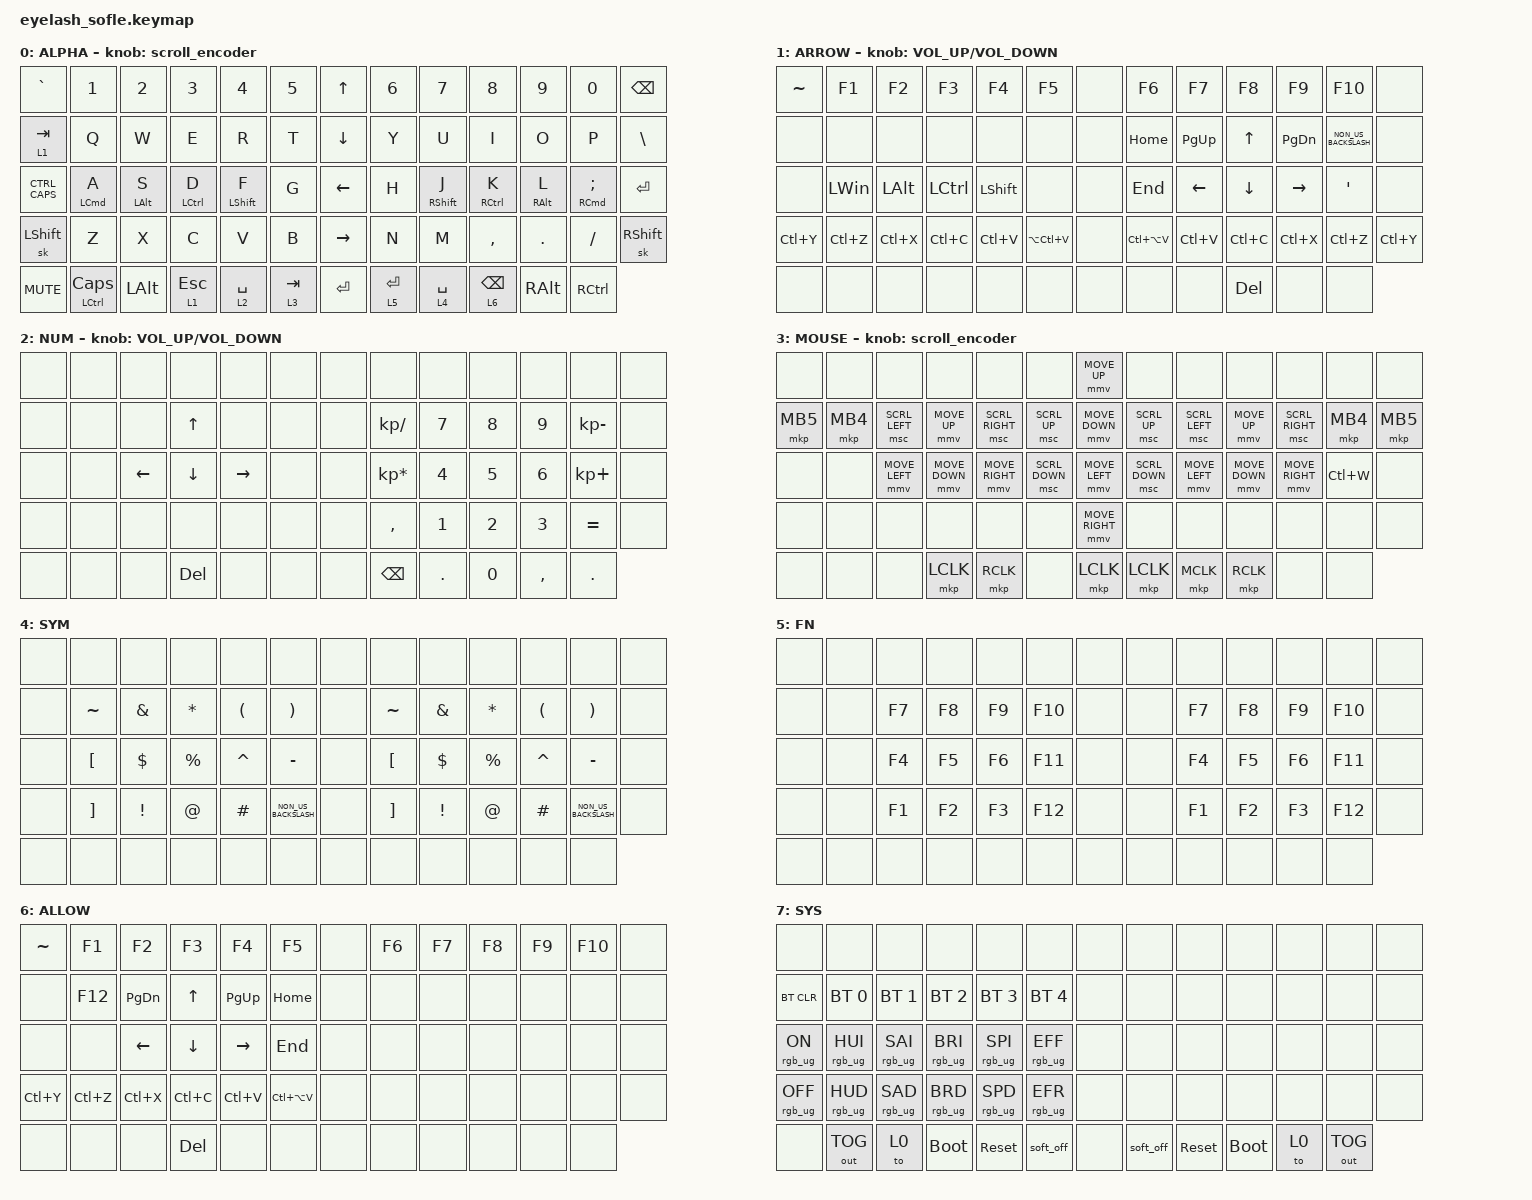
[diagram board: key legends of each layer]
#define ZMK_POINTING_DEFAULT_MOVE_VAL 1200  // 600
#define ZMK_POINTING_DEFAULT_SCRL_VAL 25   // 10

#include <input/processors.dtsi>
#include <zephyr/dt-bindings/input/input-event-codes.h>
#include <behaviors.dtsi>
#include <dt-bindings/zmk/bt.h>
#include <dt-bindings/zmk/keys.h>
#include <dt-bindings/zmk/outputs.h>
#include <dt-bindings/zmk/pointing.h>
#include <dt-bindings/zmk/rgb.h>

&mmv_input_listener { input-processors = <&zip_xy_scaler 2 1>; };

&msc_input_listener { input-processors = <&zip_scroll_scaler 2 1>; };

&msc {
    acceleration-exponent = <1>;      // 0
    time-to-max-speed-ms = <100>;       // 300
    delay-ms = <0>;                   // 0
};

&mmv {
    time-to-max-speed-ms = <500>;
    acceleration-exponent = <1>;
    trigger-period-ms = <16>;
};

/ {
    scroll_encoder: scroll_encoder {
        compatible = "zmk,behavior-sensor-rotate";
        #sensor-binding-cells = <0>;
        bindings = <&msc SCRL_DOWN>, <&msc SCRL_UP>;

        tap-ms = <100>;
    };

    HOME_ROW_R: HOME_ROW_R {
        compatible = "zmk,behavior-hold-tap";
        label = "HOME_ROW_R";
        bindings = <&kp>, <&kp>;

        #binding-cells = <2>;
        flavor = "tap-preferred";
        tapping-term-ms = <185>;
    };

    CTRL_CAPS: CTRL_CAPS {
        compatible = "zmk,behavior-tap-dance";
        label = "CTRL_CAPS";
        #binding-cells = <0>;
        bindings = <&kp LCTRL>, <&kp CAPSLOCK>;

        tapping-term-ms = <250>;
    };

    TIMELESS_HMR_L: TIMELESS_HMR_L {
        compatible = "zmk,behavior-hold-tap";
        label = "TIMELESS_HMR_L";
        bindings = <&kp>, <&kp>;

        #binding-cells = <2>;
        tapping-term-ms = <280>;
        quick-tap-ms = <175>;
        require-prior-idle-ms = <125>;
        flavor = "balanced";
        hold-trigger-key-positions = <7 8 9 10 11 12 20 21 22 23 24 25 33 34 35 36 37 38 46 47 48 49 50 51 60 61 62 63 59 53 54 55 56 57>;
        hold-trigger-on-release;
    };

    TIMELESS_HMR_R: TIMELESS_HMR_R {
        compatible = "zmk,behavior-hold-tap";
        label = "TIMELESS_HMR_R";
        bindings = <&kp>, <&kp>;

        #binding-cells = <2>;
        tapping-term-ms = <280>;
        quick-tap-ms = <175>;
        require-prior-idle-ms = <125>;
        flavor = "balanced";
        hold-trigger-on-release;
        hold-trigger-key-positions = <0 1 2 3 4 5 13 14 15 16 17 18 26 27 28 29 30 31 39 40 41 42 43 44 53 54 55 56 57 59 60 61 62 63>;
    };

    HMR_LSHIFT: HMR_LSHIFT {
        compatible = "zmk,behavior-hold-tap";
        label = "HMR_LSHIFT";
        bindings = <&kp>, <&kp>;

        #binding-cells = <2>;
        tapping-term-ms = <170>;
        quick-tap-ms = <0>;
        require-prior-idle-ms = <(-1)>;
        flavor = "balanced";
        hold-trigger-key-positions = <7 8 9 10 11 12 20 21 22 23 24 25 33 34 35 36 37 38 46 47 48 49 50 51 60 61 62 63 59 53 54 55 56 57>;
    };

    HMR_RSHIFT: HMR_RSHIFT {
        compatible = "zmk,behavior-hold-tap";
        label = "HMR_RSHIFT";
        bindings = <&kp>, <&kp>;

        #binding-cells = <2>;
        tapping-term-ms = <170>;
        quick-tap-ms = <0>;
        require-prior-idle-ms = <(-1)>;
        flavor = "balanced";
        hold-trigger-key-positions = <0 1 2 3 4 5 13 14 15 16 17 18 26 27 28 29 30 31 39 40 41 42 43 44 53 54 55 56 57 59 60 61 62 63>;
    };

    HOME_ROW_L: HOME_ROW_L {
        compatible = "zmk,behavior-hold-tap";
        label = "HOME_ROW_L";
        bindings = <&kp>, <&kp>;

        #binding-cells = <2>;
        flavor = "tap-preferred";
        tapping-term-ms = <185>;
    };

    behaviors {
    };

    combos {
        compatible = "zmk,combos";

        COMBO_PAR {
            bindings = <&PARENTHESIS>;
            key-positions = <18 31 44>;
        };

        COMBO_SQL_SELECT {
            bindings = <&SQL_SELECT>;
            key-positions = <27 28 29>;
            layers = <0>;
        };

        COMBO_UNDERSCORE {
            bindings = <&kp UNDERSCORE>;
            key-positions = <17 16>;
        };

        COMBO_EQUAL {
            bindings = <&kp EQUAL>;
            key-positions = <18 17>;
        };

        COMBO_LPAR {
            bindings = <&kp LEFT_PARENTHESIS>;
            key-positions = <14 15>;
        };

        COMBO_RPAR {
            bindings = <&kp RIGHT_PARENTHESIS>;
            key-positions = <15 16>;
        };

        COMBO_LANG_CHANGE {
            bindings = <&kp LG(SPACE)>;
            key-positions = <29 30>;
        };

        COMBO_MINUS {
            bindings = <&kp KP_MINUS>;
            key-positions = <21 22>;
        };

        COMBO_PLUS {
            bindings = <&kp KP_PLUS>;
            key-positions = <22 23>;
        };

        COMBO_BOOTLOADER {
            bindings = <&bootloader>;
            key-positions = <57 59>;
        };
    };

    macros {
        PARENTHESIS: PARENTHESIS {
            compatible = "zmk,behavior-macro";
            #binding-cells = <0>;
            bindings = <&kp LEFT_PARENTHESIS &kp RIGHT_PARENTHESIS &kp LEFT>;
            label = "PARENTHESIS";
        };

        SQL_SELECT: SQL_SELECT {
            compatible = "zmk,behavior-macro";
            #binding-cells = <0>;
            bindings = <&none &kp S &kp E &kp L &kp E &kp C &kp T &kp SPACE &kp STAR &kp RET &kp F &kp R &kp O &kp M &kp SPACE &kp RET &kp W &kp H &kp E &kp R &kp E &kp SPACE &kp N1 &kp EQUAL &kp N1 &kp RET &kp O &kp R &kp D &kp E &kp R &kp SPACE &kp B &kp Y &kp SPACE &kp I &kp D &kp X &kp SPACE &kp D &kp E &kp S &kp C &kp RET &kp L &kp I &kp M &kp I &kp T &kp SPACE &kp N1 &kp N0 &kp N0 &kp RET &kp SEMI>;
            label = "SQL_SELECT";
        };
    };

    keymap {
        compatible = "zmk,keymap";

        ALPHA {
            bindings = <
&kp GRAVE   &kp N1                      &kp N2                  &kp N3                      &kp N4                    &kp N5       &kp UP_ARROW     &kp N6       &kp N7                     &kp N8                       &kp N9                   &kp N0                          &kp BACKSPACE
&lt 1 TAB   &kp Q                       &kp W                   &kp E                       &kp R                     &kp T        &kp DOWN_ARROW   &kp Y        &kp U                      &kp I                        &kp O                    &kp P                           &kp BACKSLASH
&CTRL_CAPS  &HOME_ROW_L LEFT_COMMAND A  &HOME_ROW_L LEFT_ALT S  &HOME_ROW_L LEFT_CONTROL D  &HOME_ROW_L LEFT_SHIFT F  &kp G        &kp LEFT_ARROW   &kp H        &HOME_ROW_R RIGHT_SHIFT J  &HOME_ROW_R RIGHT_CONTROL K  &HOME_ROW_R RIGHT_ALT L  &HOME_ROW_R RIGHT_COMMAND SEMI  &kp ENTER
&sk LSHFT   &kp Z                       &kp X                   &kp C                       &kp V                     &kp B        &kp RIGHT_ARROW  &kp N        &kp M                      &kp COMMA                    &kp DOT                  &kp FSLH                        &sk RSHIFT
&kp C_MUTE  &mt LCTRL CAPSLOCK          &kp LEFT_ALT            &lt 1 ESCAPE                &lt 2 SPACE               &lt 3 TAB    &kp ENTER        &lt 5 ENTER  &lt 4 SPACE                &lt 6 BACKSPACE              &kp RIGHT_ALT            &kp RCTRL
            >;

            sensor-bindings = <&scroll_encoder>;
            display-name = "ALPHA";
            label = "ALPHA";
        };

        ARROW {
            bindings = <
&kp TILDE  &kp F1        &kp F2        &kp F3     &kp F4          &kp F5           &none  &kp F6         &kp F7       &kp F8      &kp F9         &kp F10               &none
&none      &none         &none         &none      &none           &none            &none  &kp HOME       &kp PAGE_UP  &kp UP      &kp PAGE_DOWN  &kp NON_US_BACKSLASH  &none
&none      &kp LEFT_WIN  &kp LEFT_ALT  &kp LCTRL  &kp LEFT_SHIFT  &none            &none  &kp END        &kp LEFT     &kp DOWN    &kp RIGHT      &kp APOSTROPHE        &none
&kp LC(Y)  &kp LC(Z)     &kp LC(X)     &kp LC(C)  &kp LC(V)       &kp LA(LC(V))    &none  &kp LC(LA(V))  &kp LC(V)    &kp LC(C)   &kp LC(X)      &kp LC(Z)             &kp LC(Y)
&none      &none         &none         &none      &none           &none            &none  &none          &none        &kp DELETE  &none          &none
            >;

            display-name = "ARROW";
            sensor-bindings = <&inc_dec_kp C_VOLUME_UP C_VOLUME_DOWN>;
            label = "ARROW";
        };

        NUM {
            bindings = <
&none  &none  &none     &none       &none      &none    &none  &none            &none         &none         &none         &none         &none
&none  &none  &none     &kp UP      &none      &none    &none  &kp KP_DIVIDE    &kp N7        &kp N8        &kp N9        &kp KP_MINUS  &none
&none  &none  &kp LEFT  &kp DOWN    &kp RIGHT  &none    &none  &kp KP_ASTERISK  &kp NUMBER_4  &kp N5        &kp NUMBER_6  &kp KP_PLUS   &none
&none  &none  &none     &none       &none      &none    &none  &kp COMMA        &kp NUMBER_1  &kp NUMBER_2  &kp NUMBER_3  &kp EQUAL     &none
&none  &none  &none     &kp DELETE  &none      &none    &none  &kp BACKSPACE    &kp DOT       &kp NUMBER_0  &kp COMMA     &kp DOT
            >;

            sensor-bindings = <&inc_dec_kp C_VOLUME_UP C_VOLUME_DOWN>;
            display-name = "NUM";
            label = "NUM";
        };

        MOUSE {
            label = "MOUSE";
            display-name = "MOUSE";
            bindings = <
&none     &none     &none           &none           &none            &none             &mmv MOVE_UP     &none           &none           &none           &none            &none      &none
&mkp MB5  &mkp MB4  &msc SCRL_LEFT  &mmv MOVE_UP    &msc SCRL_RIGHT  &msc SCRL_UP      &mmv MOVE_DOWN   &msc SCRL_UP    &msc SCRL_LEFT  &mmv MOVE_UP    &msc SCRL_RIGHT  &mkp MB4   &mkp MB5
&none     &none     &mmv MOVE_LEFT  &mmv MOVE_DOWN  &mmv MOVE_RIGHT  &msc SCRL_DOWN    &mmv MOVE_LEFT   &msc SCRL_DOWN  &mmv MOVE_LEFT  &mmv MOVE_DOWN  &mmv MOVE_RIGHT  &kp LC(W)  &none
&none     &none     &none           &none           &none            &none             &mmv MOVE_RIGHT  &none           &none           &none           &none            &none      &none
&none     &none     &none           &mkp LCLK       &mkp RCLK        &none             &mkp LCLK        &mkp LCLK       &mkp MCLK       &mkp RCLK       &none            &none
            >;

            sensor-bindings = <&scroll_encoder>;
        };

        SYM {
            bindings = <
&none  &none              &none            &none         &none                 &none                    &none  &none              &none            &none         &none                 &none                  &none
&none  &kp TILDE          &kp AMPERSAND    &kp ASTERISK  &kp LEFT_PARENTHESIS  &kp RIGHT_PARENTHESIS    &none  &kp TILDE          &kp AMPERSAND    &kp ASTERISK  &kp LEFT_PARENTHESIS  &kp RIGHT_PARENTHESIS  &none
&none  &kp LEFT_BRACKET   &kp DOLLAR       &kp PERCENT   &kp CARET             &kp MINUS                &none  &kp LEFT_BRACKET   &kp DOLLAR       &kp PERCENT   &kp CARET             &kp MINUS              &none
&none  &kp RIGHT_BRACKET  &kp EXCLAMATION  &kp AT_SIGN   &kp HASH              &kp NON_US_BACKSLASH     &none  &kp RIGHT_BRACKET  &kp EXCLAMATION  &kp AT_SIGN   &kp HASH              &kp NON_US_BACKSLASH   &none
&none  &none              &none            &none         &none                 &none                    &none  &none              &none            &none         &none                 &none
            >;

            label = "SYM";
        };

        FN {
            bindings = <
&none  &none  &none   &none   &none   &none      &none  &none  &none   &none   &none   &none    &none
&none  &none  &kp F7  &kp F8  &kp F9  &kp F10    &none  &none  &kp F7  &kp F8  &kp F9  &kp F10  &none
&none  &none  &kp F4  &kp F5  &kp F6  &kp F11    &none  &none  &kp F4  &kp F5  &kp F6  &kp F11  &none
&none  &none  &kp F1  &kp F2  &kp F3  &kp F12    &none  &none  &kp F1  &kp F2  &kp F3  &kp F12  &none
&none  &none  &none   &none   &none   &none      &none  &none  &none   &none   &none   &none
            >;

            label = "FN";
        };

        ALLOW {
            bindings = <
&kp TILDE  &kp F1     &kp F2         &kp F3        &kp F4       &kp F5           &none  &kp F6  &kp F7  &kp F8  &kp F9  &kp F10  &none
&none      &kp F12    &kp PAGE_DOWN  &kp UP_ARROW  &kp PAGE_UP  &kp HOME         &none  &none   &none   &none   &none   &none    &none
&none      &none      &kp LEFT       &kp DOWN      &kp RIGHT    &kp END          &none  &none   &none   &none   &none   &none    &none
&kp LC(Y)  &kp LC(Z)  &kp LC(X)      &kp LC(C)     &kp LC(V)    &kp LC(LA(V))    &none  &none   &none   &none   &none   &none    &none
&none      &none      &none          &kp DELETE    &none        &none            &none  &none   &none   &none   &none   &none
            >;

            label = "ALLOW";
        };

        SYS {
            bindings = <
&none            &none            &none            &none            &none            &none              &none  &none      &none       &none        &none  &none         &none
&bt BT_CLR       &bt BT_SEL 0     &bt BT_SEL 1     &bt BT_SEL 2     &bt BT_SEL 3     &bt BT_SEL 4       &none  &none      &none       &none        &none  &none         &none
&rgb_ug RGB_ON   &rgb_ug RGB_HUI  &rgb_ug RGB_SAI  &rgb_ug RGB_BRI  &rgb_ug RGB_SPI  &rgb_ug RGB_EFF    &none  &none      &none       &none        &none  &none         &none
&rgb_ug RGB_OFF  &rgb_ug RGB_HUD  &rgb_ug RGB_SAD  &rgb_ug RGB_BRD  &rgb_ug RGB_SPD  &rgb_ug RGB_EFR    &none  &none      &none       &none        &none  &none         &none
&none            &out OUT_TOG     &to 0            &bootloader      &sys_reset       &soft_off          &none  &soft_off  &sys_reset  &bootloader  &to 0  &out OUT_TOG
            >;

            label = "SYS";
        };
    };
};
